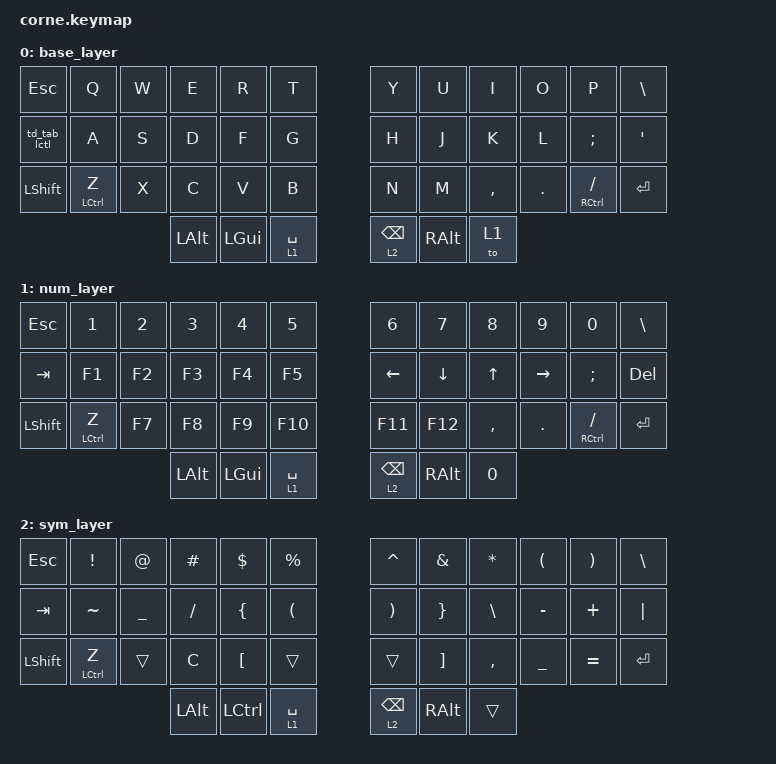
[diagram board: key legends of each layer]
/*
 * Corne ZMK Keymap — converted from Oryx layout KWZw9
 * 42 keys, 6 columns per side, 3 layers
 *
 * Layer 0 — Base (QWERTY)
 * Layer 1 — Numbers / F-keys  (tap = Space, hold = Layer 1)
 * Layer 2 — Symbols           (tap = Backspace, hold = Layer 2)
 */

#include <behaviors.dtsi>
#include <dt-bindings/zmk/keys.h>
#include <dt-bindings/zmk/bt.h>

/ {
    behaviors {
        /*
         * Tap = Tab, Hold = Left Ctrl
         */
        td_tab_lctl: tap_dance_tab_lctl {
            compatible = "zmk,behavior-tap-dance";
            #binding-cells = <0>;
            tapping-term-ms = <200>;
            bindings = <&kp TAB>, <&kp LCTRL>;
        };

        /*
         * Tap = / (slash), Hold = Right Ctrl
         */
        ht_fslh_rctl: hold_tap_fslh_rctl {
            compatible = "zmk,behavior-hold-tap";
            #binding-cells = <2>;
            tapping-term-ms = <200>;
            quick-tap-ms = <125>;
            flavor = "tap-preferred";
            bindings = <&kp>, <&kp>;
        };

        /*
         * Tap = Z, Hold = Left Ctrl
         */
        ht_z_lctl: hold_tap_z_lctl {
            compatible = "zmk,behavior-hold-tap";
            #binding-cells = <2>;
            tapping-term-ms = <200>;
            quick-tap-ms = <125>;
            flavor = "tap-preferred";
            bindings = <&kp>, <&kp>;
        };

        /*
         * Left thumb — Tap = Space, Hold = momentary Layer 1
         */
        lt_spc_1: layer_tap_space_1 {
            compatible = "zmk,behavior-hold-tap";
            #binding-cells = <2>;
            tapping-term-ms = <200>;
            quick-tap-ms = <125>;
            flavor = "tap-preferred";
            bindings = <&mo>, <&kp>;
        };

        /*
         * Right thumb — Tap = Backspace, Hold = momentary Layer 2
         */
        lt_bspc_2: layer_tap_bspc_2 {
            compatible = "zmk,behavior-hold-tap";
            #binding-cells = <2>;
            tapping-term-ms = <200>;
            quick-tap-ms = <125>;
            flavor = "tap-preferred";
            bindings = <&mo>, <&kp>;
        };
    };

    keymap {
        compatible = "zmk,keymap";

        /* ─────────────────────────────────────────────────────────────
         * Layer 0 — Base QWERTY
         *
         * ┌──────┬──────┬─────┬─────┬─────┬─────┐   ┌─────┬─────┬─────┬─────┬──────────┬──────┐
         * │ ESC  │  Q   │  W  │  E  │  R  │  T  │   │  Y  │  U  │  I  │  O  │    P     │  \   │
         * ├──────┼──────┼─────┼─────┼─────┼─────┤   ├─────┼─────┼─────┼─────┼──────────┼──────┤
         * │Tab/LC│  A   │  S  │  D  │  F  │  G  │   │  H  │  J  │  K  │  L  │    ;     │  '   │
         * ├──────┼──────┼─────┼─────┼─────┼─────┤   ├─────┼─────┼─────┼─────┼──────────┼──────┤
         * │ LSFT │ Z/LC │  X  │  C  │  V  │  B  │   │  N  │  M  │  ,  │  .  │  //RCTL  │ RET  │
         * └──────┴──────┴─────┼─────┼─────┼─────┤   ├─────┼─────┼─────┴─────┴──────────┴──────┘
         *                     │LALT │LGUI │SPC/ │   │BSPC/│RALT │LYR1 │
         *                     │     │     │ L1  │   │ L2  │     │     │
         *                     └─────┴─────┴─────┘   └─────┴─────┴─────┘
         * ───────────────────────────────────────────────────────────── */
        base_layer {
            bindings = <
                &kp ESC       &kp Q               &kp W  &kp E  &kp R  &kp T    &kp Y               &kp U     &kp I      &kp O    &kp P                     &kp BSLH
                &td_tab_lctl  &kp A               &kp S  &kp D  &kp F  &kp G    &kp H               &kp J     &kp K      &kp L    &kp SEMI                  &kp SQT
                &kp LSHFT     &ht_z_lctl LCTRL Z  &kp X  &kp C  &kp V  &kp B    &kp N               &kp M     &kp COMMA  &kp DOT  &ht_fslh_rctl RCTRL FSLH  &kp RET
                                                  &kp LALT  &kp LGUI  &lt_spc_1 1 SPACE    &lt_bspc_2 2 BSPC  &kp RALT  &to 1
            >;
        };

        /* ─────────────────────────────────────────────────────────────
         * Layer 1 — Numbers / F-keys
         *
         * ┌──────┬──────┬─────┬─────┬─────┬─────┐   ┌─────┬─────┬─────┬─────┬──────────┬──────┐
         * │ ESC  │  1   │  2  │  3  │  4  │  5  │   │  6  │  7  │  8  │  9  │    0     │  \   │
         * ├──────┼──────┼─────┼─────┼─────┼─────┤   ├─────┼─────┼─────┼─────┼──────────┼──────┤
         * │ TAB  │  F1  │ F2  │ F3  │ F4  │ F5  │   │  ←  │  ↓  │  ↑  │  →  │    ;     │ DEL  │
         * ├──────┼──────┼─────┼─────┼─────┼─────┤   ├─────┼─────┼─────┼─────┼──────────┼──────┤
         * │ LSFT │ Z/LC │ F7  │ F8  │ F9  │ F10 │   │ F11 │ F12 │  ,  │  .  │  //RCTL  │ RET  │
         * └──────┴──────┴─────┼─────┼─────┼─────┤   ├─────┼─────┼─────┴─────┴──────────┴──────┘
         *                     │LALT │LGUI │(SPC/│   │BSPC/│RALT │  0  │
         *                     │     │     │ L1) │   │ L2) │     │     │
         *                     └─────┴─────┴─────┘   └─────┴─────┴─────┘
         * ───────────────────────────────────────────────────────────── */
        num_layer {
            bindings = <
                &kp ESC    &kp N1              &kp N2  &kp N3  &kp N4  &kp N5    &kp N6              &kp N7    &kp N8     &kp N9    &kp N0                    &kp BSLH
                &kp TAB    &kp F1              &kp F2  &kp F3  &kp F4  &kp F5    &kp LEFT            &kp DOWN  &kp UP     &kp RIGHT &kp SEMI                  &kp DEL
                &kp LSHFT  &ht_z_lctl LCTRL Z  &kp F7  &kp F8  &kp F9  &kp F10   &kp F11             &kp F12   &kp COMMA  &kp DOT   &ht_fslh_rctl RCTRL FSLH  &kp RET
                                               &kp LALT  &kp LGUI  &lt_spc_1 1 SPACE    &lt_bspc_2 2 BSPC  &kp RALT  &kp N0
            >;
        };

        /* ─────────────────────────────────────────────────────────────
         * Layer 2 — Symbols
         *
         * ┌──────┬──────┬─────┬─────┬─────┬─────┐   ┌─────┬─────┬─────┬─────┬─────┬──────┐
         * │ ESC  │  !   │  @  │  #  │  $  │  %  │   │  ^  │  &  │  *  │  (  │  )  │  \   │
         * ├──────┼──────┼─────┼─────┼─────┼─────┤   ├─────┼─────┼─────┼─────┼─────┼──────┤
         * │ TAB  │  ~   │  _  │  /  │  {  │  (  │   │  )  │  }  │  \  │  -  │  +  │  |   │
         * ├──────┼──────┼─────┼─────┼─────┼─────┤   ├─────┼─────┼─────┼─────┼─────┼──────┤
         * │ LSFT │ Z/LC │     │  C  │  [  │     │   │     │  ]  │  ,  │  _  │  =  │ RET  │
         * └──────┴──────┴─────┼─────┼─────┼─────┤   ├─────┼─────┼─────┴─────┴─────┴──────┘
         *                     │LALT │LCTL │SPC/ │   │(BSP/│RALT │     │
         *                     │     │     │ L1  │   │ L2) │     │     │
         *                     └─────┴─────┴─────┘   └─────┴─────┴─────┘
         * ───────────────────────────────────────────────────────────── */
        sym_layer {
            bindings = <
                &kp ESC    &kp EXCL            &kp AT     &kp HASH  &kp DLLR  &kp PRCNT    &kp CARET           &kp AMPS  &kp STAR   &kp LPAR  &kp RPAR   &kp BSLH
                &kp TAB    &kp TILDE           &kp UNDER  &kp FSLH  &kp LBRC  &kp LPAR     &kp RPAR            &kp RBRC  &kp BSLH   &kp MINUS &kp PLUS   &kp PIPE
                &kp LSHFT  &ht_z_lctl LCTRL Z  &trans     &kp C     &kp LBKT  &trans       &trans              &kp RBKT  &kp COMMA  &kp UNDER &kp EQUAL  &kp RET
                                               &kp LALT   &kp LCTRL &lt_spc_1 1 SPACE      &lt_bspc_2 2 BSPC  &kp RALT  &trans
            >;
        };
    };
};
